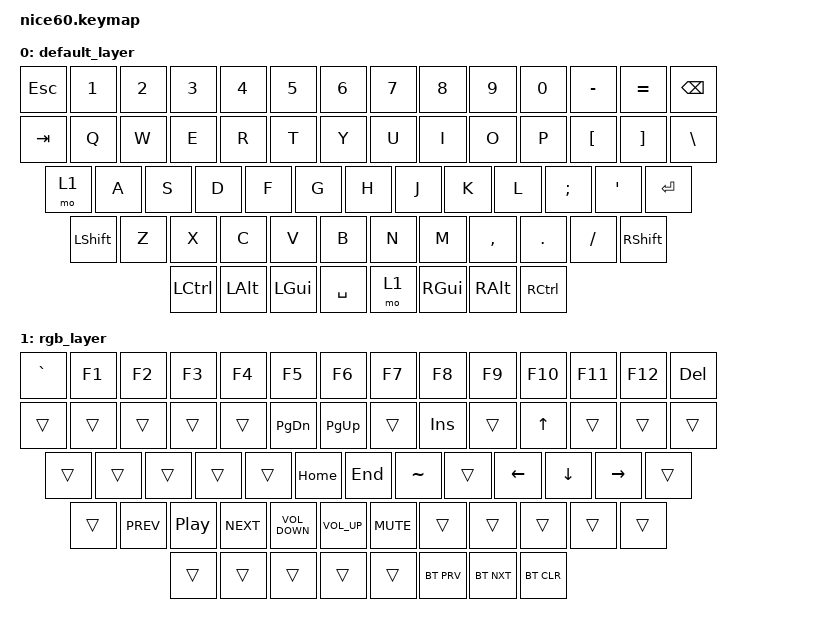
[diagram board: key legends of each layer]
/*
 * Copyright (c) 2021 Nick Winans
 *
 * SPDX-License-Identifier: MIT
 */

#include <behaviors.dtsi>
#include <dt-bindings/zmk/keys.h>
#include <dt-bindings/zmk/rgb.h>
#include <dt-bindings/zmk/bt.h>
#include <dt-bindings/zmk/outputs.h>
#include <dt-bindings/zmk/reset.h>
#include <dt-bindings/zmk/ext_power.h>

/ {
	keymap {
		compatible = "zmk,keymap";
		
		default_layer {
// ------------------------------------------------------------------------------------------
// | ESC |  1  |  2  |  3  |  4  |  5  |  6  |  7  |  8  |  9  |  0  |  -  |  =  |   BKSP   |
// | TAB  |  Q  |  W  |  E  |  R  |  T  |  Y  |  U  |  I  |  O  |  P  |  [  |  ]  |   "|"   |
// | CAPS  |  A  |  S  |  D  |  F  |  G  |  H  |  J  |  K  |  L  |  ;  |  '  |     ENTER    |
// |  SHIFT  |  Z  |  X  |  C  |  V  |  B  |  N  |  M  |  ,  |  .  |  /  |      SHIFT       |
// |  CTL  |  WIN  |  ALT  |            SPACE              |  ALT  |  WIN  |  MO(1) |  CTL  |
// ------------------------------------------------------------------------------------------
			bindings = <
	&kp ESC   &kp N1   &kp N2   &kp N3   &kp N4   &kp N5   &kp N6   &kp N7   &kp N8   &kp N9   &kp N0   &kp MINUS   &kp EQUAL   &kp BSPC   
 	&kp TAB   &kp Q   &kp W   &kp E   &kp R   &kp T   &kp Y   &kp U   &kp I   &kp O   &kp P   &kp LBKT   &kp RBKT   &kp BSLH   
 	&mo 1   &kp A   &kp S   &kp D   &kp F   &kp G   &kp H   &kp J   &kp K   &kp L   &kp SEMI   &kp SQT   &kp RET   
 	&kp LSHFT   &kp Z   &kp X   &kp C   &kp V   &kp B   &kp N   &kp M   &kp COMMA   &kp DOT   &kp FSLH   &kp RSHFT   
 	&kp LCTRL   &kp LALT   &kp LGUI   &kp SPACE   &mo 1   &kp RGUI   &kp RALT   &kp RCTRL 
			>;
		};

		rgb_layer {
// ------------------------------------------------------------------------------------------------
// | BT CLR | F1  | F2  | F3  | F4  | F5  | F6  | F7  | F8  | F9  | F10  | F11 | F12 | EFFECT REV |
// |  BT 1   |   |  UP |   | HUEUP | SATUP | BRIUP | SPDUP |   |     |    |     |     |           |
// |   BT 2   | LT |  DN  | RT | HUEDN | SATDN | BRIDN | SPDDN |   |     |   |     |  EFFECT FORW |
// |    BT 3     |     |      |      |     |     |     |     |     |     |     |                  |
// |   BT 4  |      |      |             TOG RGB                | PRT SCR |       |       |  DEL  |
// ------------------------------------------------------------------------------------------------
			bindings = <
	&kp GRAVE   &kp F1   &kp F2   &kp F3   &kp F4   &kp F5   &kp F6   &kp F7   &kp F8   &kp F9   &kp F10   &kp F11   &kp F12   &kp DEL   
 	&trans   &trans   &trans   &trans   &trans   &kp PG_DN   &kp PG_UP   &trans   &kp INS   &trans   &kp UP   &trans   &trans   &trans   
 	&trans   &trans   &trans   &trans   &trans   &kp HOME   &kp END   &kp TILDE   &trans   &kp LEFT   &kp DOWN   &kp RIGHT   &trans   
 	&trans   &kp C_PREV   &kp C_PLAY_PAUSE   &kp C_NEXT   &kp C_VOLUME_DOWN   &kp C_VOLUME_UP   &kp C_MUTE   &trans   &trans   &trans   
	&trans   &trans   &trans   &trans   &trans   &trans   &trans   &bt BT_PRV   &bt BT_NXT   &bt BT_CLR 
			>;
		};
	};
};
